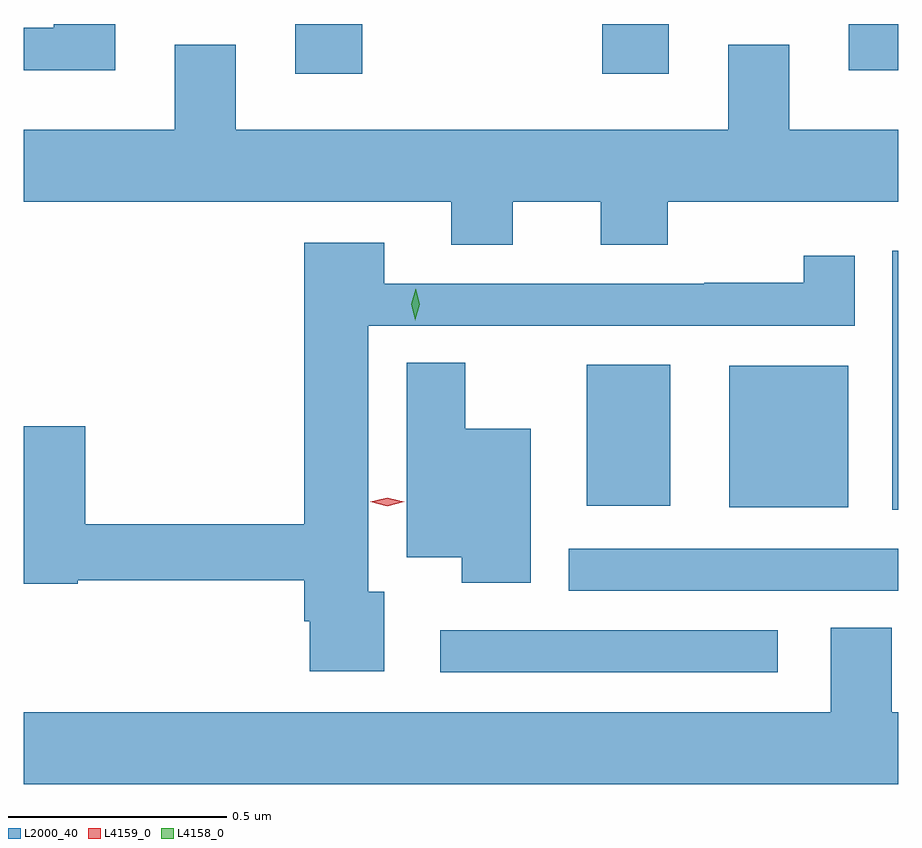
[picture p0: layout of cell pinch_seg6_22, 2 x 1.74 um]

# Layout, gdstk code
import gdstk
lib = gdstk.Library(unit=1e-6, precision=1e-09)
def R(c, l, rs):  # rectangles x0, y0, x1, y1
    for r in rs: c.add(gdstk.rectangle(r[:2], r[2:], *l))
def P(c, l, *ps):  # polygons
    for p in ps: c.add(gdstk.Polygon(p, *l))
L2000_40 = (2000, 40)
L4158_0 = (4158, 0)
L4159_0 = (4159, 0)

pinch_seg6_22 = lib.new_cell('pinch_seg6_22')
R(pinch_seg6_22, L2000_40, [(960.198,966.24,960.97,966.336), (960.492,966.426,961.246,966.522), (961.232,966.611,961.246,967.204), (960.86,966.617,961.132,966.94), (960.533,966.62,960.724,966.943), (959.867,967.608,960.02,967.722), (960.569,967.608,960.721,967.722), (961.133,967.616,961.246,967.722)])
P(pinch_seg6_22, L2000_40, [(959.455,967.722),(959.315,967.722),(959.315,967.713),(959.246,967.713),(959.246,967.616),(959.455,967.616)],
  [(960.364,967.316),(960.566,967.316),(960.566,967.217),(960.719,967.217),(960.719,967.316),(961.246,967.316),(961.246,967.48),(960.997,967.48),(960.997,967.675),(960.857,967.675),(960.857,967.48),(959.731,967.48),(959.731,967.675),(959.591,967.675),(959.591,967.48),(959.246,967.48),(959.246,967.316),(960.224,967.316),(960.224,967.217),(960.364,967.217)],
  [(960.07,966.424),(960.034,966.424),(960.034,967.032),(961.147,967.032),(961.147,967.192),(961.03,967.192),(961.03,967.13),(960.802,967.13),(960.802,967.128),(960.07,967.128),(960.07,967.222),(959.888,967.222),(959.888,966.578),(959.387,966.578),(959.387,966.802),(959.246,966.802),(959.246,966.442),(959.37,966.442),(959.37,966.45),(959.888,966.45),(959.888,966.356),(959.9,966.356),(959.9,966.242),(960.07,966.242)],
  [(960.406,966.796),(960.256,966.796),(960.256,966.947),(960.122,966.947),(960.122,966.503),(960.248,966.503),(960.248,966.444),(960.406,966.444)],
  [(961.246,966.148),(961.231,966.148),(961.231,966.341),(961.091,966.341),(961.091,966.148),(959.246,966.148),(959.246,965.984),(961.246,965.984)])
P(pinch_seg6_22, L4158_0, [(960.141,967.045),(960.141,967.046),(960.132,967.081),(960.142,967.117),(960.143,967.117),(960.143,967.117),(960.152,967.081),(960.141,967.046)])
P(pinch_seg6_22, L4159_0, [(960.077,966.619),(960.039,966.629),(960.039,966.629),(960.039,966.629),(960.077,966.639),(960.116,966.629),(960.116,966.629),(960.116,966.629)])

lib.write_gds('pinch_seg6_22.gds')
